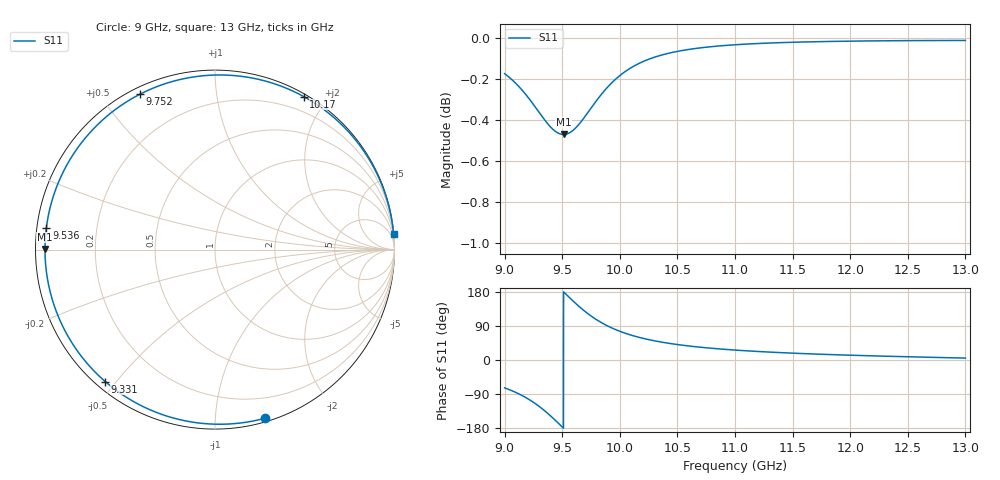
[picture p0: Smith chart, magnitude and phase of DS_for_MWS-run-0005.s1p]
! TOUCHSTONE file generated by CST DESIGN STUDIO
! Date and time: Tue Feb  4 13:48:47 2025
! Project name: C:\Work\MatlabApps\UnitCellOptimizationMatlab\CST\unitcell.cst
! Tree item: Tasks\Sweep1\SPara1\S-Parameters
! Header version: 2024
! Port assignment regex: !\s*Touchstone port\s*([0-9]+)\s*=\s*(CST MWS port|CST DES external port|CST DES block port)\s*(.+)\s* \(\"(.*)\"\)(\s*mode\s*([0-9]+))?.*
! Touchstone port assignment:
! Touchstone port 1 = CST DES external port 1 ("")
# GHz S MA R 50
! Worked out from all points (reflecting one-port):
!   4001 points, 9 GHz to 13 GHz, reference 50 ohm
!   lowest |S11| = -0.5 dB at 9.512 GHz (marker M1), VSWR 36.91, Z = 1.35 + j0.0956 ohm
!   phase of S11 starts at -74 deg and turns -281 deg over the sweep
!   S11 on the Smith chart (normalised r, x): 9 GHz: 0.03, -1.34; 9.331 GHz: 0.03, -0.47; 9.536 GHz: 0.03, +0.06; 9.752 GHz: 0.03, +0.63; 10.17 GHz: 0.03, +1.74; 13 GHz: 0, +23
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9  0.98 -73.5
9.089  0.9752 -84.4
9.192  0.9681 -100.5
9.265  0.962 -114.7
9.331  0.9564 -129.8
9.377  0.9527 -141.5
9.424  0.9497 -154.4
9.463  0.948 -165.7
9.5  0.9473 -176.6
9.512  0.9472 179.8
9.536  0.9474 172.6
9.589  0.9492 157.1
9.649  0.9529 140.6
9.7  0.957 127.6
9.752  0.9615 115.8
9.803  0.9658 105.4
9.86  0.9703 95.2
10  0.979 75.8
10.08  0.9826 67.3
10.166  0.9857 59.8
10.318  0.9895 49.6
10.5  0.9924 40.8
10.722  0.9945 33.0
11  0.996 26.2
11.5  0.9974 18.0
12  0.9981 12.6
12.5  0.9983 8.5
13  0.9984 5.1
